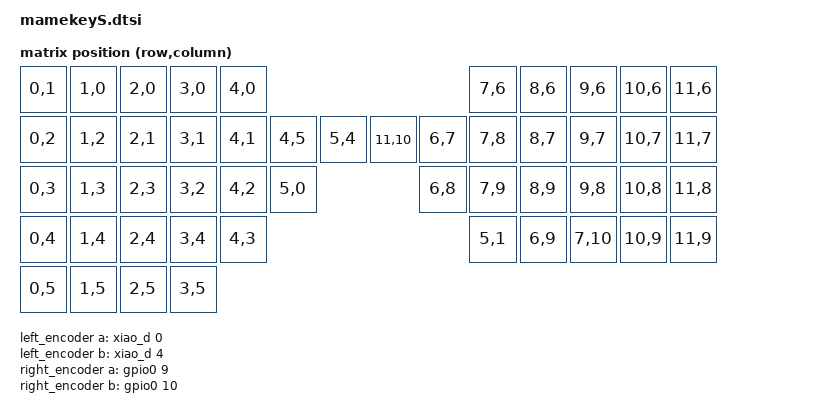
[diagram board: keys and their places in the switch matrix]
#include <dt-bindings/zmk/matrix_transform.h>
#include <input/processors.dtsi>
#include <dt-bindings/zmk/input_transform.h>
#include <physical_layouts.dtsi>
#include <dt-bindings/zmk/bt.h>

/ {

    chosen {
        zmk,physical-layout = &mamekeyS_physical_layout;
    };

    default_transform: matrix_transform {
        compatible = "zmk,matrix-transform";
        rows = <12>;
        columns = <11>;
		// | SW1 (0)  | SW5   | SW9   | SW13  | SW16  |       |                   |         | SW4 (7)| SW8   | SW11  | SW14  | SW18 (11) |
		// | SW2 (12) | SW6   | SW10  | SW14  | SW17  | JOYS  | SW22 |     | SW22 | SW1 (20)| SW5    | SW9   | SW12  | SW15  | SW19 (25) |
		// | SW3 (26) | SW7   | SW11  | SW15  | SW18  | SW20  |                   | SW2 (32)| SW6    | SW10  | SW13  | SW16  | SW20 (37) |
		// | SW4 (38) | SW8   | SW12  | SW23  | SW19  | SW21  |                   | SW3 (44)| SW7    | TRACKBALL     | SW17  | SW21      |  
        map = <
                      RC(0,1) RC(1,0) RC(2,0) RC(3,0) RC(4,0)                                      RC(7,6) RC(8,6) RC(9,6) RC(10,6) RC(11,6)
                      RC(0,2) RC(1,2) RC(2,1) RC(3,1) RC(4,1) RC(4,5) RC(5,4)    RC(11,10) RC(6,7) RC(7,8) RC(8,7) RC(9,7) RC(10,7) RC(11,7)
                      RC(0,3) RC(1,3) RC(2,3) RC(3,2) RC(4,2) RC(5,0)                      RC(6,8) RC(7,9) RC(8,9) RC(9,8) RC(10,8) RC(11,8)
                      RC(0,4) RC(1,4) RC(2,4)   RC(3,4)  RC(4,3) RC(5,1)                 RC(6,9) RC(7,10)                RC(10,9) RC(11,9) 
                      
                      RC(0,5) RC(1,5) RC(2,5) RC(3,5)
        >;
    };
    
    mamekeyS_physical_layout: mamekeyS_physical_layout {
        compatible = "zmk,physical-layout";
        display-name = "Default";
        transform = <&default_transform>;
        kscan = <&kscan0>;

           keys  //                     w   h    x    y     rot    rx    ry
            = <&key_physical_attrs 100 100    0    0       0     0     0>
            , <&key_physical_attrs 100 100  100    0       0     0     0>
            , <&key_physical_attrs 100 100  200    0       0     0     0>
            , <&key_physical_attrs 100 100  300    0       0     0     0>
            , <&key_physical_attrs 100 100  400    0       0     0     0>
            , <&key_physical_attrs 100 100  850    0       0     0     0>
            , <&key_physical_attrs 100 100  950    0       0     0     0>
            , <&key_physical_attrs 100 100 1050    0       0     0     0>
            , <&key_physical_attrs 100 100 1150    0       0     0     0>
            , <&key_physical_attrs 100 100 1250    0       0     0     0>
            , <&key_physical_attrs 100 100    0  100       0     0     0>
            , <&key_physical_attrs 100 100  100  100       0     0     0>
            , <&key_physical_attrs 100 100  200  100       0     0     0>
            , <&key_physical_attrs 100 100  300  100       0     0     0>
            , <&key_physical_attrs 100 100  400  100       0     0     0>
            , <&key_physical_attrs 100 100  500  100       0     0     0>
            , <&key_physical_attrs 100 100  750  100       0     0     0>
            , <&key_physical_attrs 100 100  850  100       0     0     0>
            , <&key_physical_attrs 100 100  950  100       0     0     0>
            , <&key_physical_attrs 100 100 1050  100       0     0     0>
            , <&key_physical_attrs 100 100 1150  100       0     0     0>
            , <&key_physical_attrs 100 100 1250  100       0     0     0>
            , <&key_physical_attrs  50 100  600  150       0     0     0>
            , <&key_physical_attrs  50 100  700  150       0     0     0>
            , <&key_physical_attrs 100 100    0  200       0     0     0>
            , <&key_physical_attrs 100 100  100  200       0     0     0>
            , <&key_physical_attrs 100 100  200  200       0     0     0>
            , <&key_physical_attrs 100 100  300  200       0     0     0>
            , <&key_physical_attrs 100 100  400  200       0     0     0>
            , <&key_physical_attrs 100 100  500  200       0     0     0>
            , <&key_physical_attrs 100 100  750  200       0     0     0>
            , <&key_physical_attrs 100 100  850  200       0     0     0>
            , <&key_physical_attrs 100 100  950  200       0     0     0>
            , <&key_physical_attrs 100 100 1050  200       0     0     0>
            , <&key_physical_attrs 100 100 1150  200       0     0     0>
            , <&key_physical_attrs 100 100 1250  200       0     0     0>
            , <&key_physical_attrs 100 100    0  300       0     0     0>
            , <&key_physical_attrs 100 100  100  300       0     0     0>
            , <&key_physical_attrs 100 100  200  300       0     0     0>
            , <&key_physical_attrs 100 100  325  300       0     0     0>
            , <&key_physical_attrs 100 100  450  300       0     0     0>
            , <&key_physical_attrs 100 100  550  300       0     0     0>
            , <&key_physical_attrs 100 100  700  300       0     0     0>
            , <&key_physical_attrs 100 100  800  300       0     0     0>
            , <&key_physical_attrs 100 100 1150  300       0     0     0>
            , <&key_physical_attrs 100 100 1250  300       0     0     0>           ;
    };
    
    kscan0: kscan {
        compatible = "zmk,kscan-gpio-charlieplex";

        interrupt-gpios = <&xiao_d 1 (GPIO_ACTIVE_HIGH | GPIO_PULL_DOWN) >;
    };
    
    //right hand trackball AML not release key
    &zip_temp_layer {
    excluded-positions = <
        22 // J
        23 // K
        24 // L
        25 // ;
        34 // m
        35 // ,
        14 // d
        15 // f
        26 // z(shift)
        38 // ctrl
        39 // win(command)
        >;
    };
    
    //Prevent accidental AML activation
    &zip_temp_layer {
        require-prior-idle-ms = <200>;
    };
    
    //right hand trackball
    trackball_central_listener: trackball_central_listener {
        compatible = "zmk,input-listener";
        status = "disabled";
        input-processors = 
            <&zip_xy_transform INPUT_TRANSFORM_Y_INVERT>;         //Y軸反転
            //<&zip_xy_transform INPUT_TRANSFORM_XY_SWAP>,        //X軸とY軸の入れ替え
            //<&zip_xy_transform INPUT_TRANSFORM_X_INVERT>,       //X軸反転
            <&zip_temp_layer 9 500>;                            //オートマウスレイヤーの選択
    };

    
        left_encoder: encoder_left {
            compatible = "alps,ec11";
            a-gpios = <&xiao_d 0 (GPIO_ACTIVE_HIGH | GPIO_PULL_UP)>;
            b-gpios = <&xiao_d 4 (GPIO_ACTIVE_HIGH | GPIO_PULL_UP)>;
            steps = <24>;
            status = "disabled";
    };
    
        right_encoder: encoder_right {
            compatible = "alps,ec11";
            a-gpios = <&gpio0 9 (GPIO_ACTIVE_HIGH | GPIO_PULL_UP)>;
            b-gpios = <&gpio0 10 (GPIO_ACTIVE_HIGH | GPIO_PULL_UP)>;
            steps = <24>;
            status = "disabled";
    };
    
    sensors: sensors {
        compatible = "zmk,keymap-sensors";
        sensors = <&left_encoder &right_encoder>;
        triggers-per-rotation = <10>;
    };
};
